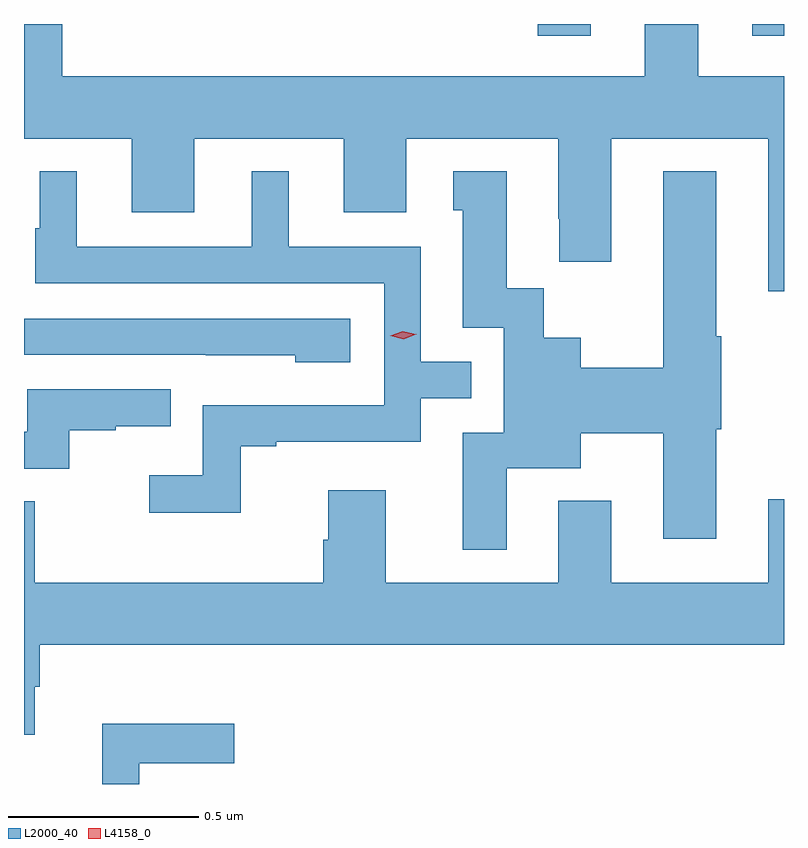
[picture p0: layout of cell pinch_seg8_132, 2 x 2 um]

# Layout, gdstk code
import gdstk
lib = gdstk.Library(unit=1e-6, precision=1e-09)
def R(c, l, rs):  # rectangles x0, y0, x1, y1
    for r in rs: c.add(gdstk.rectangle(r[:2], r[2:], *l))
def P(c, l, *ps):  # polygons
    for p in ps: c.add(gdstk.Polygon(p, *l))
L2000_40 = (2000, 40)
L4158_0 = (4158, 0)

pinch_seg8_132 = lib.new_cell('pinch_seg8_132')
R(pinch_seg8_132, L2000_40, [(816.737,1132.755,816.877,1132.786), (817.301,1132.755,817.385,1132.786)])
P(pinch_seg8_132, L2000_40, [(817.385,1132.648),(817.159,1132.648),(817.159,1132.786),(817.019,1132.786),(817.019,1132.648),(815.485,1132.648),(815.485,1132.786),(815.385,1132.786),(815.385,1132.484),(815.669,1132.484),(815.669,1132.29),(815.833,1132.29),(815.833,1132.484),(816.227,1132.484),(816.227,1132.29),(816.391,1132.29),(816.391,1132.484),(816.791,1132.484),(816.791,1132.273),(816.794,1132.273),(816.794,1132.161),(816.931,1132.161),(816.931,1132.484),(817.343,1132.484),(817.343,1132.083),(817.385,1132.083)],
  [(815.955,1131.675),(816.049,1131.675),(816.049,1131.687),(816.429,1131.687),(816.429,1131.801),(816.562,1131.801),(816.562,1131.897),(816.429,1131.897),(816.429,1132.2),(816.082,1132.2),(816.082,1132.399),(815.984,1132.399),(815.984,1132.2),(815.524,1132.2),(815.524,1132.399),(815.426,1132.399),(815.426,1132.248),(815.415,1132.248),(815.415,1132.104),(816.333,1132.104),(816.333,1131.783),(815.856,1131.783),(815.856,1131.598),(815.715,1131.598),(815.715,1131.5),(815.955,1131.5)],
  [(816.655,1131.617),(816.85,1131.617),(816.85,1131.709),(817.067,1131.709),(817.067,1131.432),(817.207,1131.432),(817.207,1131.72),(817.22,1131.72),(817.22,1131.964),(817.207,1131.964),(817.207,1132.399),(817.067,1132.399),(817.067,1131.881),(816.85,1131.881),(816.85,1131.961),(816.753,1131.961),(816.753,1132.091),(816.655,1132.091),(816.655,1132.399),(816.515,1132.399),(816.515,1132.296),(816.539,1132.296),(816.539,1131.987),(816.648,1131.987),(816.648,1131.711),(816.539,1131.711),(816.539,1131.402),(816.655,1131.402)],
  [(816.244,1132.011),(815.385,1132.011),(815.385,1131.915),(815.863,1131.915),(815.863,1131.914),(816.099,1131.914),(816.099,1131.896),(816.244,1131.896)],
  [(815.504,1131.717),(815.627,1131.717),(815.627,1131.728),(815.771,1131.728),(815.771,1131.825),(815.394,1131.825),(815.394,1131.713),(815.385,1131.713),(815.385,1131.615),(815.504,1131.615)],
  [(817.385,1131.535),(817.343,1131.535),(817.343,1131.316),(816.931,1131.316),(816.931,1131.532),(816.791,1131.532),(816.791,1131.316),(816.337,1131.316),(816.337,1131.559),(816.185,1131.559),(816.185,1131.429),(816.173,1131.429),(816.173,1131.316),(815.413,1131.316),(815.413,1131.53),(815.385,1131.53),(815.385,1130.916),(815.413,1130.916),(815.413,1131.042),(815.426,1131.042),(815.426,1131.152),(817.385,1131.152)],
  [(815.688,1130.84),(815.938,1130.84),(815.938,1130.944),(815.591,1130.944),(815.591,1130.786),(815.688,1130.786)])
P(pinch_seg8_132, L4158_0, [(816.384,1131.957),(816.349,1131.965),(816.348,1131.965),(816.349,1131.965),(816.382,1131.977),(816.417,1131.97),(816.418,1131.97),(816.417,1131.969)])

lib.write_gds('pinch_seg8_132.gds')
